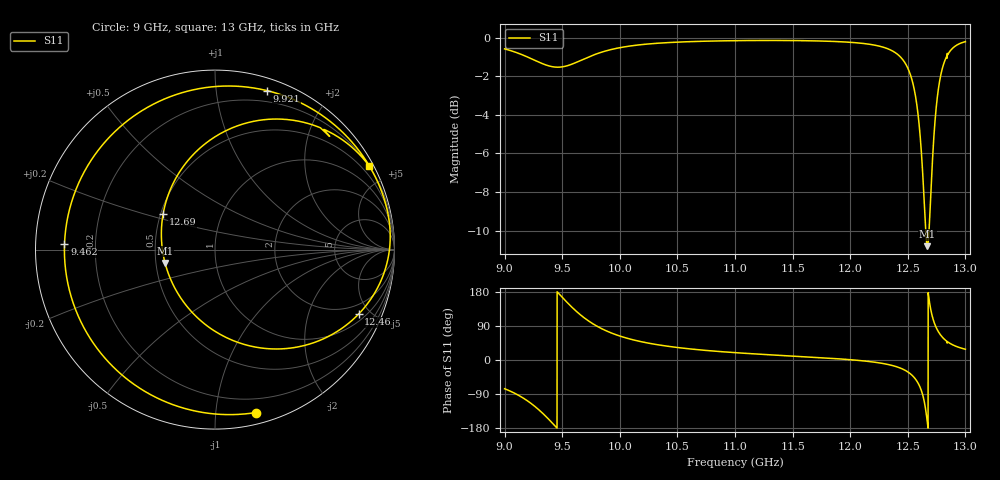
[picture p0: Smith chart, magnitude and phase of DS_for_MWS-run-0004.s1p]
! TOUCHSTONE file generated by CST DESIGN STUDIO
! Date and time: Tue Feb  4 18:17:54 2025
! Project name: C:\Work\MatlabApps\UnitCellOptimizationMatlab\CST\unitcell.cst
! Tree item: Tasks\Sweep1\SPara1\S-Parameters
! Header version: 2024
! Port assignment regex: !\s*Touchstone port\s*([0-9]+)\s*=\s*(CST MWS port|CST DES external port|CST DES block port)\s*(.+)\s* \(\"(.*)\"\)(\s*mode\s*([0-9]+))?.*
! Touchstone port assignment:
! Touchstone port 1 = CST DES external port 1 ("")
# GHz S MA R 50
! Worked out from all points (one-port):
!   4001 points, 9 GHz to 13 GHz, reference 50 ohm
!   lowest |S11| = -10.8 dB at 12.67 GHz (marker M1), VSWR 1.81, Z = 28 - j4.52 ohm
!   |S11| at or under -10 dB: 12.65578 GHz to 12.68439 GHz (28.61 MHz wide, 0.226 % of centre)
!   S11 on the Smith chart (normalised r, x): 9 GHz: 0.09, -1.28; 9.462 GHz: 0.09, +0.02; 9.921 GHz: 0.10, +1.37; 12.46 GHz: 1.37, -4.25; 12.69 GHz: 0.52, +0.23; 13 GHz: 0.19, +3.94
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9  0.9361 -75.8
9.141  0.9066 -96.7
9.249  0.878 -119.1
9.37  0.8481 -152.4
9.462  0.839 178.0
9.5  0.8407 165.6
9.596  0.8571 135.9
9.687  0.8808 112.2
9.789  0.9065 91.5
9.921  0.9318 72.0
10  0.9428 63.3
10.215  0.962 46.5
10.5  0.9746 33.0
11  0.9832 19.4
11.5  0.9838 10.4
12  0.9736 0.8
12.301  0.9426 -10.1
12.457  0.8772 -24.2
12.5  0.8346 -31.4
12.555  0.7373 -46.0
12.605  0.5669 -70.7
12.637  0.4045 -101.2
12.67  0.2881 -165.1
12.692  0.3504 145.6
12.733  0.5908 95.5
12.776  0.7713 69.6
12.861  0.9188 44.8
13  0.9773 28.4
